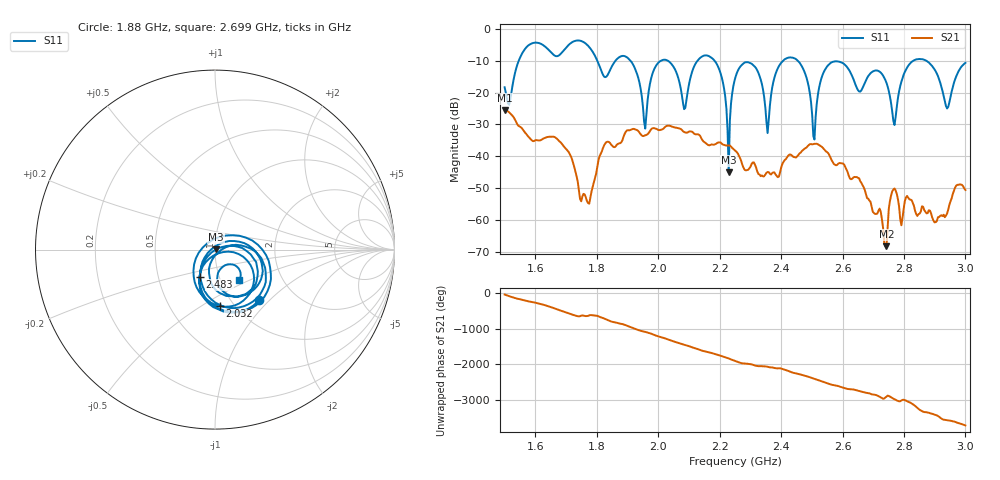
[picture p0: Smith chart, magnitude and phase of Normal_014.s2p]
# HZ S RI R 50
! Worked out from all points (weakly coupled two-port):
!   404 points, 1.5 GHz to 3 GHz, reference 50 ohm
!   highest |S21| = -25.56 dB at 1.5 GHz (marker M1); lowest = -68.3 dB at 2.743 GHz (marker M2)
!   lowest |S11| = -45.1 dB at 2.23 GHz (marker M3), VSWR 1.01, Z = 50.5 + j0.123 ohm
!   |S11| at or under -10 dB: 2.184 GHz to 2.406 GHz (222.6 MHz wide, 9.7 % of centre); 2.455 GHz to 2.83 GHz (375.2 MHz wide, 14.2 % of centre); 2.873 GHz to end of sweep (the widest 3 of 7)
!   S12 and S22 are empty: the file has one direction only
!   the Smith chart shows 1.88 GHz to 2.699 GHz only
!   S11 on the Smith chart (normalised r, x): 1.88 GHz: 1.32, -0.87; 2.032 GHz: 0.86, -0.60; 2.483 GHz: 0.81, -0.25; 2.699 GHz: 1.23, -0.43
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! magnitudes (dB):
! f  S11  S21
! 1.5 GHz  -18.3  -25.6
! 1.753 GHz  -3.9  -52.7
! 1.88 GHz  -8.5  -35.7
! 1.958 GHz  -31.3  -33.4
! 2.002 GHz  -10.4  -31.8
! 2.032 GHz  -10.0  -30.4
! 2.084 GHz  -25.2  -32.4
! 2.181 GHz  -9.7  -36.4
! 2.23 GHz  -45.1  -36.6
! 2.252 GHz  -15.0  -38.3
! 2.315 GHz  -11.9  -42.7
! 2.356 GHz  -32.7  -44.9
! 2.404 GHz  -10.2  -42.3
! 2.483 GHz  -15.2  -37.3
! 2.501 GHz  -27.0  -36.3
! 2.561 GHz  -10.7  -40.4
! 2.699 GHz  -13.3  -57.4
! 2.743 GHz  -16.9  -68.3
! 2.751 GHz  -19.5  -56.5
! 2.862 GHz  -9.5  -55.9
! 2.94 GHz  -25.0  -58.0
! 3 GHz  -10.6  -50.6
